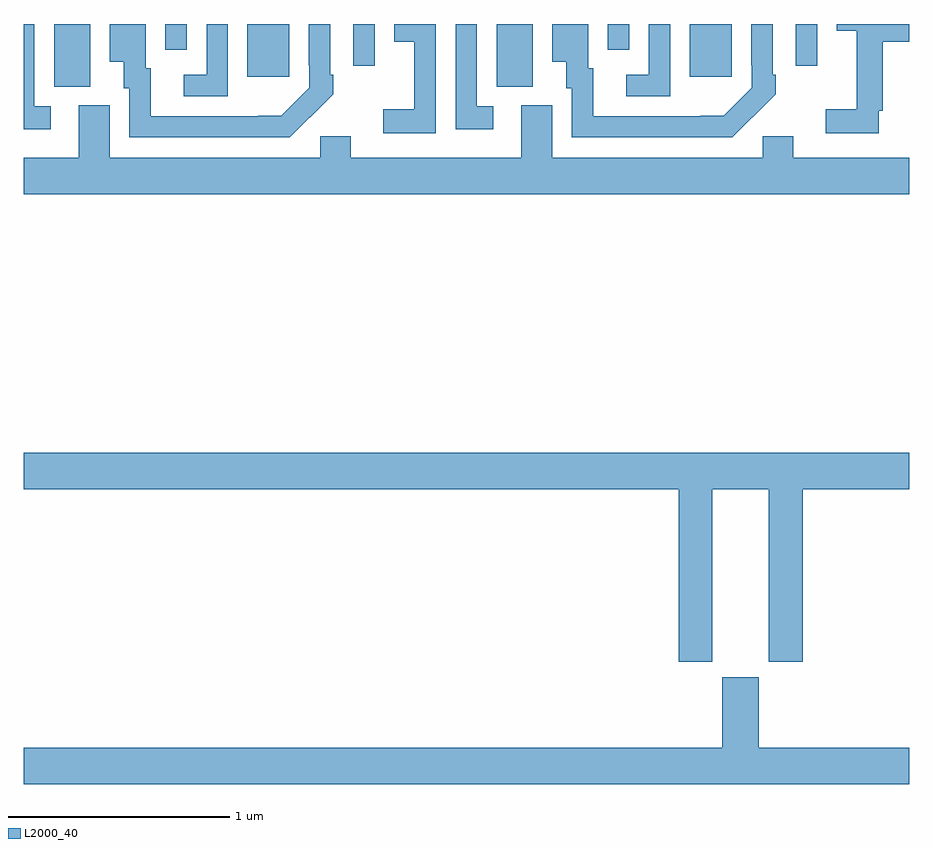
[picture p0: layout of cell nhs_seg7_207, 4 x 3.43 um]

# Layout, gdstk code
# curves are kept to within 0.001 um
import gdstk
lib = gdstk.Library(unit=1e-6, precision=1e-09)
def R(c, l, rs):  # rectangles x0, y0, x1, y1
    for r in rs: c.add(gdstk.rectangle(r[:2], r[2:], *l))
def P(c, l, *ps):  # polygons
    for p in ps: c.add(gdstk.Polygon(p, *l))
L2000_40 = (2000, 40)

nhs_seg7_207 = lib.new_cell('nhs_seg7_207')
R(nhs_seg7_207, L2000_40, [(125.138,1051.717,125.302,1052), (127.136,1051.717,127.3,1052), (126.011,1051.761,126.199,1052), (128.009,1051.761,128.197,1052), (126.489,1051.812,126.585,1052), (128.487,1051.812,128.583,1052), (125.64,1051.884,125.736,1052), (127.638,1051.884,127.734,1052)])
P(nhs_seg7_207, L2000_40, [(126.293,1051.579),(126.294,1051.578),(126.399,1051.683),(126.399,1051.771),(126.384,1051.771),(126.384,1052),(126.288,1052),(126.288,1051.813),(126.291,1051.813),(126.291,1051.713),(126.163,1051.585),(126.059,1051.584),(125.575,1051.584),(125.575,1051.8),(125.551,1051.8),(125.551,1052),(125.39,1052),(125.39,1051.829),(125.453,1051.829),(125.453,1051.71),(125.478,1051.71),(125.478,1051.488),(126.202,1051.488)],
  [(128.861,1051.609),(128.879,1051.609),(128.879,1051.92),(129,1051.92),(129,1052),(128.672,1052),(128.672,1051.97),(128.762,1051.97),(128.762,1051.615),(128.622,1051.615),(128.622,1051.506),(128.861,1051.506)],
  [(128.291,1051.579),(128.292,1051.578),(128.397,1051.683),(128.397,1051.771),(128.382,1051.771),(128.382,1052),(128.286,1052),(128.286,1051.813),(128.289,1051.813),(128.289,1051.713),(128.161,1051.585),(128.057,1051.584),(127.573,1051.584),(127.573,1051.8),(127.549,1051.8),(127.549,1052),(127.388,1052),(127.388,1051.829),(127.451,1051.829),(127.451,1051.71),(127.476,1051.71),(127.476,1051.488),(128.2,1051.488)],
  [(127.92,1052),(127.824,1052),(127.824,1051.77),(127.722,1051.77),(127.722,1051.674),(127.92,1051.674)],
  [(125.122,1051.629),(125.049,1051.629),(125.049,1052),(125,1052),(125,1051.524),(125.122,1051.524)],
  [(126.861,1052),(126.674,1052),(126.674,1051.919),(126.764,1051.919),(126.764,1051.615),(126.624,1051.615),(126.624,1051.506),(126.861,1051.506)],
  [(125.922,1052),(125.826,1052),(125.826,1051.77),(125.724,1051.77),(125.724,1051.674),(125.922,1051.674)],
  [(127.12,1051.629),(127.047,1051.629),(127.047,1052),(126.951,1052),(126.951,1051.524),(127.12,1051.524)],
  [(129,1051.396),(128.476,1051.396),(128.476,1051.494),(128.337,1051.494),(128.337,1051.396),(127.387,1051.396),(127.387,1051.632),(127.247,1051.632),(127.247,1051.396),(126.478,1051.396),(126.478,1051.494),(126.339,1051.494),(126.339,1051.396),(125.389,1051.396),(125.389,1051.632),(125.249,1051.632),(125.249,1051.396),(125,1051.396),(125,1051.232),(129,1051.232)],
  [(128.11,1049.9),(128.366,1049.9),(128.366,1049.121),(128.519,1049.121),(128.519,1049.9),(129,1049.9),(129,1050.064),(125,1050.064),(125,1049.9),(127.958,1049.9),(127.958,1049.121),(128.11,1049.121)],
  [(129,1048.732),(128.32,1048.732),(128.32,1049.049),(128.156,1049.049),(128.156,1048.732),(125,1048.732),(125,1048.568),(129,1048.568)])

lib.write_gds('nhs_seg7_207.gds')
